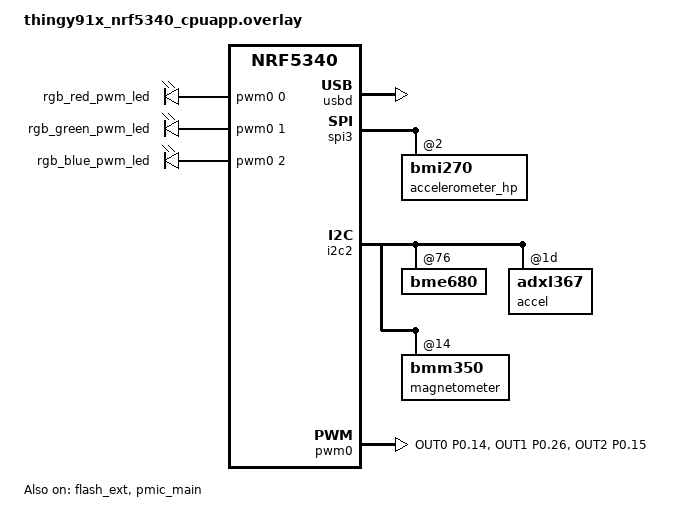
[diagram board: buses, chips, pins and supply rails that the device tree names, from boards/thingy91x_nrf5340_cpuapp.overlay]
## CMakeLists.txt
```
#
# Copyright (c) 2022 Nordic Semiconductor ASA
#
# SPDX-License-Identifier: LicenseRef-Nordic-5-Clause
#

cmake_minimum_required(VERSION 3.20.0)

find_package(Zephyr REQUIRED HINTS $ENV{ZEPHYR_BASE})
project(nrf_wifi_sta)

target_include_directories(app PUBLIC ${ZEPHYR_BASE}/subsys/net/ip)

# Add http service
zephyr_linker_sources(SECTIONS sections-rom.ld)
zephyr_linker_section_ifdef(CONFIG_NET_SAMPLE_HTTP_SERVICE NAME
				http_resource_desc_test_http_service
				KVMA RAM_REGION GROUP RODATA_REGION
				SUBALIGN Z_LINK_ITERABLE_SUBALIGN)

# Add static web resources
set(gen_dir ${ZEPHYR_BINARY_DIR}/include/generated/)

foreach(web_resource
  index.html
  main.js
  styles.css
#   color_wheel.svg
  Color_circle.svg
  Logo_Flat_RGB_Horizontal.svg
#   Duck.glb
  thingy91x.glb
    )
  generate_inc_file_for_target(
    app
    src/static_web_resources/${web_resource}
    ${gen_dir}/${web_resource}.gz.inc
    --gzip
  )
endforeach()

# Generate hex files from pem files
set(gen_dir ${CMAKE_CURRENT_BINARY_DIR}/certs)
zephyr_include_directories(${gen_dir})
generate_inc_file_for_target(
    app
    cert/StarfieldServicesCertG2.pem
    ${gen_dir}/StarfieldServicesCertG2.pem.inc
    )

target_sources(app PRIVATE
	src/main.c
    src/sensors.c
    src/http_resources.c
    src/wifi.c
)
```

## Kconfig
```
#
# Copyright (c) 2022 Nordic Semiconductor
#
# SPDX-License-Identifier: LicenseRef-Nordic-5-Clause
#

source "Kconfig.zephyr"

menu "HTTP2 server sample application"

config NET_SAMPLE_HTTP_SERVICE
	bool "Enable http service"
	default y

config NET_SAMPLE_HTTP_SERVER_SERVICE_PORT
	int "Port number for http service"
	default 80
	depends on NET_SAMPLE_HTTP_SERVICE

config NET_SAMPLE_NUM_WEBSOCKET_HANDLERS
	int "How many websocket connections to serve at the same time"
	default 2
	help
	    Each websocket connection is served by a thread which needs
	    memory. Only increase the value here if really needed.

config NET_SAMPLE_WEBSOCKET_SENSOR_INTERVAL
	int "Interval in milliseconds to send network stats over websocket"
	default 200
	help
	    This interval controls how often the sensor data shown on the web page will be updated.


endmenu # HTTP2 server sample application

menu "Logging"

    module = WIFI_STA
    module-str = wifi_sta
    source "subsys/logging/Kconfig.template.log_config"

    module = SENSORS
    module-str = sensors
    source "subsys/logging/Kconfig.template.log_config"

endmenu # Log levels

menu "Nordic Sta sample"

config CONNECTION_IDLE_TIMEOUT
	int "Time to be waited for a station to connect"
	default 30

config NRF70_QSPI_ENCRYPTION_KEY
	string "16 bytes QSPI encryption key, only for testing purposes"
	depends on BOARD_NRF7002DK_NRF5340_CPUAPP
	help
	  Specify the QSPI encryption key

config STA_CONN_TIMEOUT_SEC
	int "Overall Connection timeout i.e., time to be waited for a station to connect and get an IP address"
	# Zephyr DHCP retry is 1 minute, so set the default to 70 seconds
	default 70
	# 512 has no special meaning, just a reasonable upper limit
	range 0 512
	help
	  Specify the connection timeout, in seconds. This is the overall timeout i.e., time to be waited for
	  a station to connect and get an IP address. DHCP retries should be taken into account when setting
	  this value. If the timeout is set to 0, the connection will not timeout.

config STA_SAMPLE_START_WIFI_THREAD_STACK_SIZE
	int "Stack size for Wi-Fi start thread"
	default 4096
	help
	  Set the stack size for the Wi-Fi start thread.
endmenu

menu "HTTPS client sample"

config SAMPLE_TFM_MBEDTLS
	bool "Use TF-M and MbedTLS"
	depends on NRF_MODEM_LIB
	help
	  Use TF-M and MbedTLS in this sample instead of using
	  the offloaded TLS stack in the modem.

config HTTPS_HOSTNAME
	string "HTTPS hostname"
	default "example.com"

config DNS_ATTEMPTS
    int "Number of DNS attempts"
    default 5
    help
      Number of DNS attempts to resolve the hostname.

endmenu

menu "Nordic Scan sample"

config WIFI_SCAN_STR_MAX_MAC_ADDR
    int "Maximum length of MAC address string"
    default 10
    help
      Maximum length of MAC address string.

config WIFI_MAC_ADDRESS
	string "WiFi MAC address"
	default "F6:CE:36:00:00:01"
	help
		Wi-Fi MAC address to be used by the sample. If not set, the sample will
		use the default MAC address (locally administrative). This is only used
		when the nRF7002 OTP is not programmed with a MAC address.

config WIFI_SCAN_INTERVAL_S
	int "Scan interval (seconds)"
	default 10
	help
	  Specifies the scan interval in seconds.

config WIFI_SCAN_BANDS_LIST
	string "Frequency bands to scan"
	default "2" if WIFI_SCAN_PROFILE_2_4GHz_ACTIVE || WIFI_SCAN_PROFILE_2_4GHz_PASSIVE || WIFI_SCAN_PROFILE_2_4GHz_NON_OVERLAP_CHAN
	default "5" if WIFI_SCAN_PROFILE_5GHz_ACTIVE || WIFI_SCAN_PROFILE_5GHz_PASSIVE || WIFI_SCAN_PROFILE_5GHz_NON_DFS_CHAN
	default "2,5" if WIFI_SCAN_PROFILE_2_4GHz_NON_OVERLAP_AND_5GHz_NON_DFS_CHAN
	default ""
	help
	  Specifies the frequency bands to scan, as follows:
	  2 - 2.4 GHz,
	  5 - 5 GHz,
	  6 - 6 GHz,
	  "" - All bands allowed by the regulatory domain.
	  Multiple bands can be specified as comma separated band values.
	  Only regulatory domain permitted values are allowed.

config WIFI_SCAN_CHAN_LIST
	string "Channel list for scan"
	default "2:1,6,11" if WIFI_SCAN_PROFILE_2_4GHz_NON_OVERLAP_CHAN
	default "5:36,40,44,48,149,153,157,161,165" if WIFI_SCAN_PROFILE_5GHz_NON_DFS_CHAN
	default "2:1,6,11_5:36,40,44,48,149,153,157,161,165" if WIFI_SCAN_PROFILE_2_4GHz_NON_OVERLAP_AND_5GHz_NON_DFS_CHAN
	default ""
	help
	  Specifies the list of channels used to perform scan.

config WIFI_SCAN_DWELL_TIME_ACTIVE
	int "Active scan dwell time"
	default 50
	range 5 1000
	help
	  Active scan dwell time (in ms) per channel.

config WIFI_SCAN_DWELL_TIME_PASSIVE
	int "Passive scan dwell time"
	default 130
	range 10 1000
	help
	  Passive scan dwell time (in ms) per channel.

# Hidden options to select the scan type
config WIFI_SCAN_TYPE_ACTIVE
	bool

config WIFI_SCAN_TYPE_PASSIVE
	bool

choice
	prompt "Choose a WiFi Scan Profile"

config WIFI_SCAN_PROFILE_DEFAULT
	bool "Scan in all bands and channels"
	help
	  Enable this profile to do Wi-Fi scan in all supported bands and channels.

config WIFI_SCAN_PROFILE_ACTIVE
	bool "Active scan"
	select WIFI_SCAN_TYPE_ACTIVE
	help
	  Enable this profile to do active scan where allowed.

config WIFI_SCAN_PROFILE_PASSIVE
	bool "Passive scan"
	select WIFI_SCAN_TYPE_PASSIVE
	help
	  Enable this profile to do passive scan on all channels.

config WIFI_SCAN_PROFILE_2_4GHz_ACTIVE
	bool "Scan in the 2.4 GHz band using active scan"
	select WIFI_SCAN_TYPE_ACTIVE
	help
	  Enable this profile to scan in the 2.4 GHz band using active scanning where allowed.

config WIFI_SCAN_PROFILE_2_4GHz_PASSIVE
	bool "Scan in the 2.4 GHz band using passive scan"
	select WIFI_SCAN_TYPE_PASSIVE
	help
	  Enable this profile to scan in the 2.4 GHz band using passive scanning on all channels.

config WIFI_SCAN_PROFILE_5GHz_ACTIVE
	bool "Scan in the 5 GHz band using active scan"
	select WIFI_SCAN_TYPE_ACTIVE
	help
	  Enable this profile to scan in the 5 GHz band using active scanning where allowed.

config WIFI_SCAN_PROFILE_5GHz_PASSIVE
	bool "Scan in the 5 GHz band using passive scan"
	select WIFI_SCAN_TYPE_PASSIVE
	help
	  Enable this profile to scan in the 5 GHz band using passive scanning on all channels.

config WIFI_SCAN_PROFILE_2_4GHz_NON_OVERLAP_CHAN
	bool "Scan only non-overlapping channels"
	help
	  Enable this profile to scan only non-overlapping channels (1, 6, 11)
	  in the 2.4 GHz band.

config WIFI_SCAN_PROFILE_5GHz_NON_DFS_CHAN
	bool "Scan only non-DFS channels"
	help
	  Enable this profile to scan only non-DFS channels (36, 40, 44,
	  48, 149, 153, 157, 161, 165) in the 5 GHz band.

config WIFI_SCAN_PROFILE_2_4GHz_NON_OVERLAP_AND_5GHz_NON_DFS_CHAN
	bool "Scan only non-overlapping and non-DFS channels"
	help
	  Enable this profile to scan only non-overlapping channels
	  (1, 6, 11) in the 2.4 GHz band and non-DFS channels (36, 40, 44,
	  48, 149, 153, 157, 161, 165) in the 5 GHz band.

endchoice

endmenu
```

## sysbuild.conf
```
#
# Copyright (c) 2024 Nordic Semiconductor ASA
#
# SPDX-License-Identifier: LicenseRef-Nordic-5-Clause
#

SB_CONFIG_WIFI_NRF70=y
SB_CONFIG_THINGY91X_STATIC_PARTITIONS_NRF53_EXTERNAL_FLASH=y
```

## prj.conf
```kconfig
#
# Copyright (c) 2022 Nordic Semiconductor ASA
#
# SPDX-License-Identifier: LicenseRef-Nordic-5-Clause
#
CONFIG_WIFI=y
CONFIG_WIFI_NRF70=y

CONFIG_WIFI_READY_LIB=y

# WPA supplicant
CONFIG_WIFI_NM_WPA_SUPPLICANT=y
CONFIG_WIFI_READY_LIB=y
CONFIG_NRF_WIFI_RPU_RECOVERY=y

CONFIG_HTTPS_HOSTNAME="api.nrfcloud.com"

CONFIG_MBEDTLS_SSL_SERVER_NAME_INDICATION=y

# CONFIG_NET_DEBUG_MGMT_EVENT_STACK=y

CONFIG_WIFI_CREDENTIALS_STATIC=n

CONFIG_WIFI_CREDENTIALS_BACKEND_SETTINGS=y
CONFIG_FLASH=y
CONFIG_FLASH_PAGE_LAYOUT=y
CONFIG_FLASH_MAP=y
CONFIG_NVS=y
CONFIG_SETTINGS=y
CONFIG_SETTINGS_NVS=y

CONFIG_SHELL=y
CONFIG_WIFI_CREDENTIALS_SHELL=y
CONFIG_NET_L2_WIFI_SHELL=y

CONFIG_WIFI_MGMT_EXT=y
CONFIG_WIFI_CREDENTIALS=y
# CONFIG_WIFI_CREDENTIALS_STATIC=y
# CONFIG_WIFI_CREDENTIALS_STATIC_SSID="iPhone"
# CONFIG_WIFI_CREDENTIALS_STATIC_PASSWORD="12345678"

# Networking
CONFIG_NETWORKING=y
CONFIG_NET_SOCKETS=y
# CONFIG_NET_LOG=y
CONFIG_NET_IPV4=y
CONFIG_NET_UDP=y
CONFIG_NET_TCP=y
CONFIG_NET_DHCPV4=y
CONFIG_NET_IPV6=n

CONFIG_NET_PKT_RX_COUNT=32
CONFIG_NET_PKT_TX_COUNT=48

# Below section is the primary contributor to SRAM and is currently
# tuned for performance, but this will be revisited in the future.
CONFIG_NET_BUF_RX_COUNT=32
# CONFIG_NET_BUF_RX_COUNT=8
CONFIG_NET_BUF_TX_COUNT=64
# CONFIG_NET_BUF_TX_COUNT=16
CONFIG_NRF70_RX_NUM_BUFS=16
# CONFIG_HEAP_MEM_POOL_SIZE=170000
# CONFIG_HEAP_MEM_POOL_SIZE=120000
CONFIG_HEAP_MEM_POOL_SIZE=90000
CONFIG_USB_CDC_ACM_RINGBUF_SIZE=4096
CONFIG_NET_BUF_DATA_SIZE=1100
CONFIG_HEAP_MEM_POOL_IGNORE_MIN=y
CONFIG_NET_TC_TX_COUNT=1

CONFIG_NET_IF_UNICAST_IPV4_ADDR_COUNT=1
CONFIG_NET_MAX_CONTEXTS=16
CONFIG_NET_MAX_CONN=16
CONFIG_NET_CONTEXT_SYNC_RECV=y

CONFIG_INIT_STACKS=y

CONFIG_NET_L2_ETHERNET=y

CONFIG_NET_CONFIG_SETTINGS=y
CONFIG_NET_CONFIG_INIT_TIMEOUT=0

CONFIG_NET_SOCKETS_POLL_MAX=10

# Memories
CONFIG_MAIN_STACK_SIZE=2048
CONFIG_SHELL_STACK_SIZE=8192
# CONFIG_NET_TX_STACK_SIZE=8192
# CONFIG_NET_TX_STACK_SIZE=4096
# CONFIG_NET_RX_STACK_SIZE=4096
CONFIG_NET_RX_STACK_SIZE=2048
CONFIG_NET_TX_STACK_SIZE=2048
CONFIG_STA_SAMPLE_START_WIFI_THREAD_STACK_SIZE=5200
# CONFIG_SYSTEM_WORKQUEUE_STACK_SIZE=12000
CONFIG_SYSTEM_WORKQUEUE_STACK_SIZE=2048
# CONFIG_SYSTEM_WORKQUEUE_STACK_SIZE=4096
# CONFIG_NET_MGMT_EVENT_STACK_SIZE=2048
# CONFIG_NET_MGMT_EVENT_STACK_SIZE=4096
CONFIG_NET_MGMT_EVENT_STACK_SIZE=8192
CONFIG_NET_BUF_FIXED_DATA_SIZE=y
CONFIG_HTTP_SERVER_STACK_SIZE=8192

# Thread analysis
# CONFIG_THREAD_ANALYZER=y
# CONFIG_THREAD_ANALYZER_USE_LOG=y
# CONFIG_THREAD_ANALYZER_AUTO=y
# CONFIG_THREAD_ANALYZER_AUTO_INTERVAL=5
# CONFIG_THREAD_NAME=y

# Debugging
CONFIG_STACK_SENTINEL=y
CONFIG_DEBUG_COREDUMP=y
CONFIG_DEBUG_COREDUMP_BACKEND_LOGGING=y
CONFIG_DEBUG_COREDUMP_MEMORY_DUMP_MIN=y
CONFIG_SHELL_CMDS_RESIZE=n

CONFIG_SENSORS_LOG_LEVEL_DBG=n

CONFIG_NET_SAMPLE_WEBSOCKET_SENSOR_INTERVAL=50

# Kernel options
CONFIG_ENTROPY_GENERATOR=y

# Logging
CONFIG_LOG=y
CONFIG_LOG_BUFFER_SIZE=2048
CONFIG_POSIX_CLOCK=y
CONFIG_LOG_MODE_IMMEDIATE=y

CONFIG_NET_CONFIG_MY_IPV4_ADDR="192.168.1.99"
CONFIG_NET_CONFIG_MY_IPV4_NETMASK="255.255.255.0"
CONFIG_NET_CONFIG_MY_IPV4_GW="192.168.1.1"

# printing of scan results puts pressure on queues in new locking
# design in net_mgmt. So, use a higher timeout for a crowded
# environment.
CONFIG_NET_MGMT_EVENT_QUEUE_TIMEOUT=5000

# Eventfd
CONFIG_EVENTFD=y
CONFIG_ZVFS_OPEN_MAX=32
CONFIG_ZVFS_EVENTFD_MAX=2
CONFIG_POSIX_API=y
CONFIG_FDTABLE=y

# JSON
CONFIG_JSON_LIBRARY=y

# HTTP
# CONFIG_NET_HTTP_LOG_LEVEL_DBG=y
# CONFIG_NET_HTTP_SERVER_LOG_LEVEL_DBG=y
CONFIG_HTTP_PARSER_URL=y
CONFIG_HTTP_PARSER=y
CONFIG_HTTP_SERVER=y
CONFIG_HTTP_SERVER_WEBSOCKET=y

CONFIG_HTTP_SERVER_MAX_CLIENTS=10

# # DNS
CONFIG_MDNS_RESPONDER=y
CONFIG_DNS_SD=y
CONFIG_MDNS_RESPONDER_DNS_SD=y
CONFIG_NET_HOSTNAME_ENABLE=y
CONFIG_NET_HOSTNAME_UNIQUE=n
CONFIG_NET_HOSTNAME="thingy91x"
CONFIG_POSIX_UNAME=n

CONFIG_DNS_RESOLVER=y
CONFIG_DNS_RESOLVER_AUTO_INIT=y
CONFIG_DNS_RESOLVER_LOG_LEVEL_DBG=y
CONFIG_NET_SOCKETS_DNS_TIMEOUT=5000
CONFIG_DNS_SERVER_IP_ADDRESSES=y
CONFIG_DNS_SERVER1="1.1.1.1"
CONFIG_DNS_SERVER2="8.8.8.8"

CONFIG_DNS_RESOLVER_CACHE=y

# Sensors
CONFIG_GPIO=y
CONFIG_PWM=y
CONFIG_DK_LIBRARY=y
CONFIG_SENSOR=y
CONFIG_SPI=y
CONFIG_I2C=y

CONFIG_BMI270=y
CONFIG_BME680=y
CONFIG_ADXL367=y
# CONFIG_BMM350=y

CONFIG_FPU=y

CONFIG_REBOOT=y


CONFIG_SYS_HEAP_LISTENER=n
CONFIG_SYS_HEAP_RUNTIME_STATS=y


# TLS networking
CONFIG_NET_SOCKETS_ENABLE_DTLS=n
CONFIG_NET_SOCKETS_TLS_MAX_CONTEXTS=2
CONFIG_NET_SOCKETS_SOCKOPT_TLS=y

# TLS credentials
# CONFIG_TLS_CREDENTIALS_BACKEND_PROTECTED_STORAGE=y
CONFIG_TLS_CREDENTIALS_BACKEND_VOLATILE=y

# mbedTLS
CONFIG_NRF_SECURITY=y
CONFIG_MBEDTLS=y
CONFIG_MBEDTLS_ENABLE_HEAP=y
CONFIG_MBEDTLS_HEAP_SIZE=81920
CONFIG_MBEDTLS_RSA_C=y
CONFIG_MBEDTLS_TLS_LIBRARY=y

# Optimize T-FM
CONFIG_TFM_PROFILE_TYPE_SMALL=y
CONFIG_PM_PARTITION_SIZE_TFM_SRAM=0xc000
CONFIG_PM_PARTITION_SIZE_TFM=0x20000

# CONFIG_NET_LOG=y
# CONFIG_NET_SOCKETS_LOG_LEVEL_DBG=y
# CONFIG_MBEDTLS_DEBUG=y
# CONFIG_MBEDTLS_DEBUG_LEVEL=1
# CONFIG_MBEDTLS_DEBUG_C=y
# CONFIG_MBEDTLS_SSL_DEBUG_ALL=y
```

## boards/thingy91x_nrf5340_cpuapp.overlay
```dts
/* Copyright (c) 2024 Nordic Semiconductor ASA
 *
 * SPDX-License-Identifier: LicenseRef-Nordic-5-Clause
 */

 #include <thingy91x_nrf53_wifi.dtsi>

 /{
    aliases{
     accel0 = &accelerometer_hp;
     accel1 = &accelerometer_lp;
     mag0 = &magnetometer; 
     env0 = &bme680;
     pwm-led0 = &rgb_red_pwm_led;
     pwm-led1 = &rgb_green_pwm_led;
     pwm-led2 = &rgb_blue_pwm_led;
     red-pwm-led = &rgb_red_pwm_led;
     green-pwm-led = &rgb_green_pwm_led;
     blue-pwm-led = &rgb_blue_pwm_led;
    };
};

 &usbd {
     compatible = "nordic,nrf-usbd";
     status = "okay";
 };
 
 / {
     chosen {
         zephyr,console = &cdc_acm_uart0;
         zephyr,shell-uart = &cdc_acm_uart0;
         zephyr,uart-mcumgr = &cdc_acm_uart0;
         zephyr,bt-mon-uart = &cdc_acm_uart0;
         zephyr,bt-c2h-uart = &cdc_acm_uart0;
         nordic,pm-ext-flash = &flash_ext;
     };

     pwmleds {
        compatible = "pwm-leds";
        rgb_red_pwm_led: pwm_led0 {
            pwms = <&pwm0 0 PWM_MSEC(20) PWM_POLARITY_NORMAL>;
        };
        rgb_green_pwm_led: pwm_led1 {
            pwms = <&pwm0 1 PWM_MSEC(20) PWM_POLARITY_NORMAL>;
        };
        rgb_blue_pwm_led: pwm_led2 {
            pwms = <&pwm0 2 PWM_MSEC(20) PWM_POLARITY_NORMAL>;
        };
    };
 };
 
 &rtt0 {
     status = "disabled";
 };
 
 
 /* Enable external flash */
 &flash_ext{
     status = "okay";
 };
 
 &spi3{
     status = "okay";
     accelerometer_hp: bmi270@2 {
         status = "okay";
     };
 };

 &i2c2 {
	status = "okay";
	bme680: bme680@76 {
		status = "okay";
	};
	accel: accelerometer_lp: adxl367@1d {
		status = "okay";
	};
	magnetometer: bmm350@14 {
		status = "okay";
	};
};

&pmic_main {
	status = "okay";
	npm1300_gpios {
		status = "okay";
	};
	regulators {
		status = "okay";
	};
	charger {
		status = "okay";
	};
};

&pinctrl {
    pwm0_default: pwm0_default {
        group1 {
            psels = <NRF_PSEL(PWM_OUT0, 0, 14)>,
                    <NRF_PSEL(PWM_OUT1, 0, 26)>,
                    <NRF_PSEL(PWM_OUT2, 0, 15)>;
        };
    };

    pwm0_sleep: pwm0_sleep {
        group1 {
            psels = <NRF_PSEL(PWM_OUT0, 0, 14)>,
                    <NRF_PSEL(PWM_OUT1, 0, 26)>,
                    <NRF_PSEL(PWM_OUT2, 0, 15)>;
            low-power-enable;
        };
    };
};

&pwm0 {
    status = "okay";
    pinctrl-0 = <&pwm0_default>;
    pinctrl-1 = <&pwm0_sleep>;
    pinctrl-names = "default", "sleep";
};
        
```

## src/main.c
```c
/*
 * Copyright (c) 2022 Nordic Semiconductor ASA
 *
 * SPDX-License-Identifier: LicenseRef-Nordic-5-Clause
 */

/** @file
 * @brief WiFi station sample
 */

#include <zephyr/logging/log.h>
LOG_MODULE_REGISTER(http_server, CONFIG_LOG_DEFAULT_LEVEL);

#include <zephyr/kernel.h>
#include <stdio.h>
#include <stdlib.h>
#include <zephyr/shell/shell.h>
#include <zephyr/init.h>

#include <dk_buttons_and_leds.h>
#include <zephyr/device.h>
#include <zephyr/drivers/pwm.h>

#include <zephyr/data/json.h>

#include <zephyr/net/socket.h>
#include <zephyr/net/websocket.h>

#include <zephyr/sys/reboot.h>

#include "sensors.h"
#include "http_resources.h"
#include "wifi.h"
#include "https_request.h"

#ifdef CONFIG_SYS_HEAP_LISTENER
#include <zephyr/sys/heap_listener.h>
extern struct sys_heap _system_heap;
struct sys_memory_stats system_heap_stats;
uint32_t system_heap_free = 0;
uint32_t system_heap_used = 0;
uint32_t system_heap_max_used = 0;

void on_system_heap_alloc(uintptr_t heap_id, void *mem, size_t bytes)
{
	if (heap_id == HEAP_ID_FROM_POINTER(&_system_heap)) {
		sys_heap_runtime_stats_get((struct sys_heap *)&_system_heap.heap,
					   &system_heap_stats);
		system_heap_used = (uint32_t)system_heap_stats.allocated_bytes;
		system_heap_max_used = (uint32_t)system_heap_stats.max_allocated_bytes;
		system_heap_free = (uint32_t)system_heap_stats.free_bytes;
		LOG_INF("system_heap ALLOC %zu. Heap state: allocated %zu, free %zu, max allocated "
			"%zu, heap size %u.\n",
			bytes, system_heap_used, system_heap_free, system_heap_max_used,
			K_HEAP_MEM_POOL_SIZE);
	}
}

void on_system_heap_free(uintptr_t heap_id, void *mem, size_t bytes)
{
	if (heap_id == HEAP_ID_FROM_POINTER(&_system_heap)) {
		sys_heap_runtime_stats_get((struct sys_heap *)&_system_heap.heap,
					   &system_heap_stats);
		system_heap_used = (uint32_t)system_heap_stats.allocated_bytes;
		system_heap_max_used = (uint32_t)system_heap_stats.max_allocated_bytes;
		system_heap_free = (uint32_t)system_heap_stats.free_bytes;
		LOG_INF("system_heap ALLOC %zu. Heap state: allocated %zu, free %zu, max allocated "
			"%zu, heap size %u.\n",
			bytes, system_heap_used, system_heap_free, system_heap_max_used,
			K_HEAP_MEM_POOL_SIZE);
	}
}

HEAP_LISTENER_ALLOC_DEFINE(system_heap_listener_alloc, HEAP_ID_FROM_POINTER(&_system_heap),
			   on_system_heap_alloc);
HEAP_LISTENER_FREE_DEFINE(system_heap_listener_free, HEAP_ID_FROM_POINTER(&_system_heap),
			  on_system_heap_free);
#endif // CONFIG_SYS_HEAP_LISTENER

static const struct pwm_dt_spec red_pwm_led = PWM_DT_SPEC_GET(DT_ALIAS(pwm_led0));
static const struct pwm_dt_spec green_pwm_led = PWM_DT_SPEC_GET(DT_ALIAS(pwm_led1));
static const struct pwm_dt_spec blue_pwm_led = PWM_DT_SPEC_GET(DT_ALIAS(pwm_led2));

uint8_t apply_gamma(uint8_t value, float gamma)
{
	/* (value/255)^gamma * 255 */
	return (uint8_t)(pow(value / 255.0, gamma) * 255);
}

int pwm_set_color(int red, int green, int blue)
{
	int ret;

	/* Parameters to adjust intensity of each color */
	float red_gamma = 2.2;
	float green_gamma = 2.2;
	float blue_gamma = 2.2;

	float red_intensity_scale = 1.0;
	float green_intensity_scale = 1.0;
	float blue_intensity_scale = 0.8;

	// LOG_DBG("PWM_Color: Red: %d, Green: %d, Blue: %d \n", red, green, blue);

	// Apply gamma correction
	int corrected_red = apply_gamma(red * red_intensity_scale, red_gamma);
	int corrected_green = apply_gamma(green * green_intensity_scale, green_gamma);
	int corrected_blue = apply_gamma(blue * blue_intensity_scale, blue_gamma);

	// uint32_t period = red_pwm_led.period;
	int pwm_red = (corrected_red * red_pwm_led.period) / 255;
	int pwm_green = (corrected_green * green_pwm_led.period) / 255;
	int pwm_blue = (corrected_blue * blue_pwm_led.period) / 255;

	ret = pwm_set_pulse_dt(&red_pwm_led, pwm_red);
	if (ret != 0) {
		LOG_ERR("Error %d: red write failed\n", ret);
		return ret;
	}

	ret = pwm_set_pulse_dt(&green_pwm_led, pwm_green);
	if (ret != 0) {
		LOG_ERR("Error %d: green write failed\n", ret);
		return ret;
	}

	ret = pwm_set_pulse_dt(&blue_pwm_led, pwm_blue);
	if (ret != 0) {
		LOG_ERR("Error %d: blue write failed\n", ret);
		return ret;
	}

	return 0;
}

static void sensor_handler(struct k_work *work)
{
	int ret;
	static char tx_buf[1024];
	struct k_work_delayable *dwork = k_work_delayable_from_work(work);
	struct ws_sensors_ctx *ctx = CONTAINER_OF(dwork, struct ws_sensors_ctx, work);

	// ret = sensors_collect(tx_buf, sizeof(tx_buf));
	ret = sensors_get_json(tx_buf, sizeof(tx_buf));
	if (ret < 0) {
		LOG_ERR("Unable to collect sensor data, err %d", ret);
		goto unregister;
	}

	ret = websocket_send_msg(ctx->sock, tx_buf, ret, WEBSOCKET_OPCODE_DATA_TEXT, false, true,
				 SYS_FOREVER_MS);
	if (ret < 0) {
		LOG_INF("Couldn't send websocket msg (%d), closing connection", ret);
		goto unregister;
	}

	ret = k_work_reschedule(&ctx->work, K_MSEC(CONFIG_NET_SAMPLE_WEBSOCKET_SENSOR_INTERVAL));
	if (ret < 0) {
		LOG_ERR("Failed to schedule sensor work, err %d", ret);
		goto unregister;
	}

	return;

unregister:
	(void)websocket_unregister(ctx->sock);
	ctx->sock = -1;
}

int ws_sensors_init(void)
{
	struct ws_sensors_ctx *ctx = NULL;
	http_resources_get_ws_ctx(&ctx);

	for (int i = 0; i < CONFIG_NET_SAMPLE_NUM_WEBSOCKET_HANDLERS; i++) {
		ctx[i].sock = -1;
		k_work_init_delayable(&ctx[i].work, sensor_handler);
	}

	return 0;
}
SYS_INIT(ws_sensors_init, APPLICATION, 0);

static int get_free_sensor_slot(void)
{
	struct ws_sensors_ctx *ctx = NULL;
	http_resources_get_ws_ctx(&ctx);

	for (int i = 0; i < CONFIG_NET_SAMPLE_NUM_WEBSOCKET_HANDLERS; i++) {
		if (ctx[i].sock < 0) {
			return i;
		}
	}

	return -1;
}

int ws_sensors_setup(int ws_socket, void *user_data)
{
	ARG_UNUSED(user_data);

	struct ws_sensors_ctx *ctx = NULL;
	http_resources_get_ws_ctx(&ctx);

	int slot = get_free_sensor_slot();
	if (slot < 0) {
		LOG_ERR("No free slot for sensor websocket");
		return -ENOMEM;
	}
	LOG_INF("Setting up sensor websocket on slot %d", slot);

	ctx[slot].sock = ws_socket;

	LOG_INF("Using socket %d for sensor websocket", ws_socket);

	int ret = k_work_reschedule(&ctx[slot].work, K_NO_WAIT);
	if (ret < 0) {
		LOG_ERR("Failed to reschedule sensor work");
		return ret;
	}

	LOG_INF("Sensor websocket setup on slot %d", slot);

	return 0;
}

static void parse_led_post(uint8_t *buf, size_t len)
{
	int ret;
	struct led_command cmd;
	const int expected_return_code = BIT_MASK(ARRAY_SIZE(led_command_descr));

	LOG_DBG("Got POST request with payload: %s", buf);

	ret = json_obj_parse(buf, len, led_command_descr, ARRAY_SIZE(led_command_descr), &cmd);
	if (ret != expected_return_code) {
		LOG_WRN("Failed to fully parse JSON payload, ret=%d", ret);
		return;
	}

	ret = pwm_set_color(cmd.r, cmd.g, cmd.b);
	if (ret) {
		LOG_ERR("Failed to set LED color");
	}
}

static int led_handler(struct http_client_ctx *client, enum http_data_status status,
		       uint8_t *buffer, size_t len, void *user_data)
{
	ARG_UNUSED(client);
	ARG_UNUSED(user_data);

	static uint8_t post_payload_buf[32];
	static size_t cursor;

	LOG_DBG("LED handler status %d, size %zu", status, len);

	if (status == HTTP_SERVER_DATA_ABORTED) {
		cursor = 0;
		return 0;
	}

	if (len + cursor > sizeof(post_payload_buf)) {
		cursor = 0;
		return -ENOMEM;
	}

	/* Copy payload to our buffer. Note that even for a small payload, it may arrive split into
	 * chunks (e.g. if the header size was such that the whole HTTP request exceeds the size of
	 * the client buffer).
	 */
	memcpy(post_payload_buf + cursor, buffer, len);
	cursor += len;

	if (status == HTTP_SERVER_DATA_FINAL) {
		parse_led_post(post_payload_buf, cursor);
		cursor = 0;
	}

	return 0;
}

static void parse_jwt_post(uint8_t *buf, size_t len)
{
	ARG_UNUSED((len));

	int ret;

	ret = pwm_set_color(255, 255, 0);
	if (ret) {
		LOG_ERR("Failed to set LED color");
	}

	// Manually phrasing the JSON payload
	char temp_buff[512] = {0};
	// Remove leading {"jwt":"
	ret = snprintf(temp_buff, sizeof(temp_buff), "%s", buf + 8);
	if (ret < 0) {
		LOG_ERR("Failed to format JWT\n");
		return;
	}
	// Remove trailing "}
	temp_buff[ret - 2] = '\0';

	LOG_WRN("Temp buffer: %s", temp_buff);

	char location_str[256];
	memset(location_str, 0, sizeof(location_str));

	char api_str[CONFIG_WIFI_SCAN_STR_MAX_MAC_ADDR * 65];

	get_nrfcloud_api_str(api_str, sizeof(api_str));

	send_http_request(location_str, sizeof(location_str), api_str, sizeof(api_str), temp_buff);

	LOG_WRN("Location string: %s", location_str);

	http_resources_set_location(location_str);

	ret = pwm_set_color(0, 255, 0);
	if (ret) {
		LOG_ERR("Failed to set LED color");
	}
}

static int jwt_handler(struct http_client_ctx *client, enum http_data_status status,
		       uint8_t *buffer, size_t len, void *user_data)
{

	ARG_UNUSED(client);
	ARG_UNUSED(user_data);

	static uint8_t post_payload_buf[512];
	static size_t cursor;

	LOG_WRN("JWT handler status %d, size %zu", status, len);

	if (status == HTTP_SERVER_DATA_ABORTED) {
		cursor = 0;
		return 0;
	}

	if (len + cursor > sizeof(post_payload_buf)) {
		cursor = 0;
		LOG_ERR("Buffer overflow");
		return -ENOMEM;
	}

	/* Copy payload to our buffer. Note that even for a small payload, it may arrive split into
	 * chunks (e.g. if the header size was such that the whole HTTP request exceeds the size of
	 * the client buffer).
	 */
	memcpy(post_payload_buf + cursor, buffer, len);
	cursor += len;
	LOG_INF("JWT handler cursor %zu", cursor);

	if (status == HTTP_SERVER_DATA_FINAL) {
		parse_jwt_post(post_payload_buf, cursor);
		cursor = 0;
	}

	return 0;
}

/**
 * @brief Function called when buttons are pressed.
 */
static void button_handler(uint32_t button_state, uint32_t has_changed)
{
	if (has_changed & DK_BTN1_MSK) {
		if (button_state & DK_BTN1_MSK) {
			LOG_INF("Button 1 pressed");
			sys_reboot(SYS_REBOOT_COLD); // Reset the device
		}
	}
}

/**
 * @brief Function called when Wi-Fi is connected.
 */
static void wifi_connected_handler(void)
{
	LOG_INF("Wi-Fi connected");

	// Print Thread name
	LOG_WRN("Thread name: %s\n", k_thread_name_get(k_current_get()));

	LOG_INF("HTTP server staring");
	http_server_start();

	int ret = pwm_set_color(0, 255, 0);
	if (ret) {
		LOG_ERR("Failed to set LED color");
	}
}

static int location_handler(struct http_client_ctx *client, enum http_data_status status,
			    uint8_t *buffer, size_t len, void *user_data)
{
	ARG_UNUSED(client);
	ARG_UNUSED(len);
	ARG_UNUSED(user_data);

	static bool response_sent;
	extern char location_buf[256];

	switch (status) {
	case HTTP_SERVER_DATA_ABORTED: {
		response_sent = false;
		return 0;
	}

	case HTTP_SERVER_DATA_MORE: {
		/* A payload is not expected with the GET request. Ignore any data and wait until
		 * final callback before sending response
		 */
		return 0;
	}

	case HTTP_SERVER_DATA_FINAL: {
		if (response_sent) {
			/* Response already sent, return 0 to indicate to server that the callback
			 * does not need to be called again.
			 */
			response_sent = false;
			return 0;
		}

		response_sent = true;
		return snprintf(buffer, sizeof(location_buf), "%s", location_buf);
	}
	default: {
		LOG_WRN("Unexpected status %d", status);
		return -1;
	}
	}
}

int main(void)
{
	int ret = 0;

	// ret = dk_leds_init();
	// if (ret != 0) {
	// 	LOG_ERR("Failed to initialize LEDs");
	// 	return -1;
	// }

	if (!pwm_is_ready_dt(&red_pwm_led) || !pwm_is_ready_dt(&green_pwm_led) ||
	    !pwm_is_ready_dt(&blue_pwm_led)) {
		LOG_ERR("Error: one or more PWM devices not ready\n");
		return 0;
	}

	ret = pwm_set_color(255, 0, 0);
	if (ret) {
		LOG_ERR("Failed to set LED color");
	}

	ret = dk_buttons_init(button_handler);
	if (ret != 0) {
		LOG_ERR("Failed to initialize buttons");
		return -1;
	}

	ret = sensors_init();
	if (ret) {
		LOG_ERR("Failed to initialize sensors");
		return ret;
	}

	/* Provision certificates before connecting to the network */
	ret = cert_provision();
	if (ret) {
		return 0;
	}

	http_resources_set_led_handler(led_handler);
	http_resources_set_jwt_handler(jwt_handler);
	http_resources_set_ws_handler(ws_sensors_setup);
	wifi_sta_set_wifi_connected_cb(wifi_connected_handler);
	http_resources_set_location_handler(location_handler);

#ifdef CONFIG_SYS_HEAP_LISTENER
	heap_listener_register(&system_heap_listener_alloc);
	heap_listener_register(&system_heap_listener_free);
#endif // CONFIG_SYS_HEAP_LISTENER

	net_mgmt_callback_init();

	ret = wifi_scan();
	if (ret) {
		LOG_ERR("Failed to scan for Wi-Fi networks, err %d", ret);
		return ret;
	}

#ifdef CONFIG_WIFI_READY_LIB
	ret = register_wifi_ready();
	if (ret) {
		return ret;
	}
	k_thread_start(wifi_sta_get_start_wifi_thread_id());
#else
	start_app();
#endif /* CONFIG_WIFI_READY_LIB */

	return ret;
}
```

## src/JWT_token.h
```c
/* Remember not to push your JWT to public repo.
    * You can use the following command to ignore changes to this file locally:
    * git update-index --assume-unchanged sta/src/JWT_token.h
    * To start tracking changes again, use:
    * git update-index --no-assume-unchanged sta/src/JWT_token.h
*/
/* Here you define your JWT Authentication token */

// #define AUTH_TOKEN ""

#ifndef AUTH_TOKEN
#error "AUTH_TOKEN is not defined. Please define it appropriately."
#endif
```

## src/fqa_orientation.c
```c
/**
 *@file fqa_orientation.c
 *@author Trondfc
 *@brief Implementation of the Fast Quaternion Algorithm for orientation estimation.
 *           Based on math in https://ahrs.readthedocs.io/en/latest/filters/fqa.html
 *           and code in  https://github.com/Mayitzin/ahrs/blob/master/ahrs/filters/fqa.py
 *@version 0.3
 *        - 2024-11-17: Initial implementation.
 *        - 2025-01-07: Fixed mistake in the calculation of the roll quaternion.
 *        - 2025-01-13: Small cleanup of the code. Added file header.
 *@date 2024-11-17
 */

#include <zephyr/logging/log.h>
LOG_MODULE_REGISTER(fqa, CONFIG_FQA_LOG_LEVEL);

#include "fqa_orientation.h"
#include "zsl_utils.h"

#define SIGN(x) ((x) == 0 ? 0 : (x) > 0 ? 1 : -1)

/**
 *@brief Calculate the norm of a vector.
 *
 *@param v vector to calculate the norm of.
 *@return double norm of the vector (sqrt of the sum of the squares of the elements).
 */
double vector_norm(struct zsl_vec *v)
{
	double norm = 0.0;
	for (size_t i = 0; i < v->sz; i++) {
		norm += v->data[i] * v->data[i];
	}
	return sqrt(norm);
}

/**
 *@brief Calculate the orientation of the device using the Fast Quaternion Algorithm.
 *
 *@param accel pointer to 3D vector with the accelerometer data.
 *@param magn pointer to 3D vector with the magnetometer data.
 *@param magn_ref pointer to 3D vector with the reference magnetometer data (either the initial
 *magnetometer data or a non-rotating magnetometer data).
 *@param q pointer to the quaternion to store the orientation.
 *@return int 0 if successful, error code otherwise.
 */
int fqa_orientation(struct zsl_vec *accel, struct zsl_vec *magn, struct zsl_vec *magn_ref,
		    struct zsl_quat *q)
{
	int ret = 0;

	// Normalize the accelerometer and magnetometer data.
	struct zsl_vec *a;
	struct zsl_vec *m;
	struct zsl_vec *m_ref;

	zsl_vec_alloc(&a, 3);
	zsl_vec_alloc(&m, 3);
	zsl_vec_alloc(&m_ref, 3);

	zsl_vec_copy(a, accel);
	zsl_vec_copy(m, magn);
	zsl_vec_copy(m_ref, magn_ref);

	// Normalize the accelerometer vector
	ret = zsl_vec_to_unit(a);

	// Elevation quaternion
	double s_theta = MIN((MAX(a->data[0], -1.0)), 1.0);
	double c_theta = sqrt(1 - s_theta * s_theta);
	double s_theta_2 = SIGN(s_theta) * sqrt((1.0 - c_theta) / 2.0);
	double c_theta_2 = sqrt((1.0 + c_theta) / 2.0);
	struct zsl_quat *q_elev;
	zsl_quat_alloc(&q_elev, ZSL_QUAT_TYPE_EMPTY);
	zsl_quat_set(q_elev, c_theta_2, 0.0, s_theta_2, 0.0);
	zsl_quat_to_unit_d(q_elev);

	// Roll quaternion
	bool is_singular = (c_theta == 0.0);
	double s_phi = 0.0;
	double c_phi = 0.0;
	if (!is_singular) {
		s_phi = (-1 * a->data[1] / c_theta);
		c_phi = (-1 * a->data[2] / c_theta);
	}
	c_phi = MIN((MAX(c_phi, -1.0)), 1.0);
	int sign_s_phi = SIGN(s_phi);
	if (c_phi == -1.0 && s_phi == 0.0) {
		sign_s_phi = 1.0;
	}
	double s_phi_2 = sign_s_phi * sqrt((1.0 - c_phi) / 2.0);
	double c_phi_2 = sqrt((1.0 + c_phi) / 2.0);
	struct zsl_quat *q_roll;
	zsl_quat_alloc(&q_roll, ZSL_QUAT_TYPE_EMPTY);
	zsl_quat_set(q_roll, c_phi_2, s_phi_2, 0.0, 0.0);
	zsl_quat_to_unit_d(q_roll);

	struct zsl_quat *q_elev_roll;
	zsl_quat_alloc(&q_elev_roll, ZSL_QUAT_TYPE_EMPTY);
	zsl_quat_mult(q_elev, q_roll, q_elev_roll);

	// Azimuth quaternion
	double m_norm = vector_norm(m);
	if (m_norm <= 0.0) {
		LOG_WRN("Magnetometer vector norm is zero");
		ret = zsl_quat_copy(q, q_elev_roll);
	}

	ret = zsl_vec_to_unit(m);
	if (ret != 0) {
		LOG_ERR("Failed to normalize magnetometer vector");
		return ret;
	}
	struct zsl_quat *q_bm;
	zsl_quat_alloc(&q_bm, ZSL_QUAT_TYPE_EMPTY);
	zsl_quat_set(q_bm, 0.0, m->data[0], m->data[1], m->data[2]);

	struct zsl_quat *q_em;
	zsl_quat_alloc(&q_em, ZSL_QUAT_TYPE_EMPTY);
	struct zsl_quat *q_temp1;
	zsl_quat_alloc(&q_temp1, ZSL_QUAT_TYPE_EMPTY);
	struct zsl_quat *q_temp2;
	zsl_quat_alloc(&q_temp2, ZSL_QUAT_TYPE_EMPTY);
	struct zsl_quat *q_temp3;
	zsl_quat_alloc(&q_temp3, ZSL_QUAT_TYPE_EMPTY);

	zsl_quat_conj(q_roll, q_temp1);           // q_conj(q_r)
	zsl_quat_conj(q_elev, q_temp2);           // q_conj(q_e)
	zsl_quat_mult(q_temp1, q_temp2, q_temp3); // q_prod(q_conj(q_r), q_conj(q_e))
	zsl_quat_mult(q_bm, q_temp3, q_temp1);    // q_prod(bm, q_prod(q_conj(q_r), q_conj(q_e)))
	zsl_quat_mult(q_roll, q_temp1,
		      q_temp2); // q_prod(q_r, q_prod(bm, q_prod(q_conj(q_r), q_conj(q_e))))
	zsl_quat_mult(
		q_elev, q_temp2,
		q_em); // q_prod(q_e, q_prod(q_r, q_prod(bm, q_prod(q_conj(q_r), q_conj(q_e)))))

	double nx = m_ref->data[0];
	double ny = m_ref->data[1];
	struct zsl_vec *N_vec;
	zsl_vec_alloc(&N_vec, 2);
	N_vec->data[0] = nx;
	N_vec->data[1] = ny;
	zsl_vec_to_unit(N_vec);
	double Mx = q_em->i / sqrt(q_em->i * q_em->i + q_em->j * q_em->j);
	double My = q_em->j / sqrt(q_em->i * q_em->i + q_em->j * q_em->j);
	double c_psi = N_vec->data[0] * Mx + N_vec->data[1] * My;
	double s_psi = N_vec->data[0] * My * -1 + N_vec->data[1] * Mx;
	c_psi = MIN((MAX(c_psi, -1.0)), 1.0);
	double s_psi_2 = SIGN(s_psi) * sqrt((1.0 - c_psi) / 2.0);
	double c_psi_2 = sqrt((1.0 + c_psi) / 2.0);
	struct zsl_quat *q_azim;
	zsl_quat_alloc(&q_azim, ZSL_QUAT_TYPE_EMPTY);
	zsl_quat_set(q_azim, c_psi_2, 0.0, 0.0, s_psi_2);
	zsl_quat_to_unit_d(q_azim);

	// Final quaternion
	zsl_quat_mult(q_azim, q_elev_roll, q);
	zsl_quat_to_unit_d(q);

	// enshure positive scalar part
	if (q->r < 0) {
		q->r = -q->r;
		q->i = -q->i;
		q->j = -q->j;
		q->k = -q->k;
	}

	// Free memory
	zsl_quat_free(q_elev);
	zsl_quat_free(q_roll);
	zsl_quat_free(q_elev_roll);
	zsl_quat_free(q_bm);
	zsl_quat_free(q_em);
	zsl_quat_free(q_temp1);
	zsl_quat_free(q_temp2);
	zsl_quat_free(q_temp3);
	zsl_quat_free(q_azim);
	zsl_vec_free(a);
	zsl_vec_free(m);
	zsl_vec_free(m_ref);
	zsl_vec_free(N_vec);

	return 0;
}
```

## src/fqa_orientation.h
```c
#pragma once

#include <zsl/zsl.h>
#include <zsl/matrices.h>
#include <zsl/vectors.h>
#include "zsl_utils.h"

int fqa_orientation(struct zsl_vec *accel, struct zsl_vec *magn, struct zsl_vec *magn_ref,
		    struct zsl_quat *q);
```

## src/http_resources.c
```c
#include "http_resources.h"

//////////////////////////////////////// HTTP Service //////////////////////////////////////////

static uint16_t test_http_service_port = CONFIG_NET_SAMPLE_HTTP_SERVER_SERVICE_PORT;
HTTP_SERVICE_DEFINE(test_http_service, NULL, &test_http_service_port, 1, 10, NULL);

//////////////////////////////////////// HTTP Resources //////////////////////////////////////////

////////////////// Index HTML //////////////////
// This is the main HTML file that is loaded by the browser.

static const uint8_t index_html_gz[] = {
#include "index.html.gz.inc"
};

struct http_resource_detail_static index_html_gz_resource_detail = {
	.common =
		{
			.type = HTTP_RESOURCE_TYPE_STATIC,
			.bitmask_of_supported_http_methods = BIT(HTTP_GET),
			.content_encoding = "gzip",
			.content_type = "text/html",
		},
	.static_data = index_html_gz,
	.static_data_len = sizeof(index_html_gz),
};

HTTP_RESOURCE_DEFINE(index_html_gz_resource, test_http_service, "/",
		     &index_html_gz_resource_detail);

////////////////// Main JS //////////////////
// This is the main JavaScript file that is loaded by the index.html file.

static const uint8_t main_js_gz[] = {
#include "main.js.gz.inc"
};

struct http_resource_detail_static main_js_gz_resource_detail = {
	.common =
		{
			.type = HTTP_RESOURCE_TYPE_STATIC,
			.bitmask_of_supported_http_methods = BIT(HTTP_GET),
			.content_encoding = "gzip",
			.content_type = "application/javascript",
		},
	.static_data = main_js_gz,
	.static_data_len = sizeof(main_js_gz),
};

HTTP_RESOURCE_DEFINE(main_js_gz_resource, test_http_service, "/main.js",
		     &main_js_gz_resource_detail);

////////////////// styles CSS //////////////////
// This is the CSS file that is loaded by the index.html file.

static const uint8_t styles_css_gz[] = {
#include "styles.css.gz.inc"
};

struct http_resource_detail_static styles_css_gz_resource_detail = {
	.common =
		{
			.type = HTTP_RESOURCE_TYPE_STATIC,
			.bitmask_of_supported_http_methods = BIT(HTTP_GET),
			.content_encoding = "gzip",
			.content_type = "text/css",
		},
	.static_data = styles_css_gz,
	.static_data_len = sizeof(styles_css_gz),
};

HTTP_RESOURCE_DEFINE(styles_css_gz_resource, test_http_service, "/styles.css",
		     &styles_css_gz_resource_detail);

////////////////// Color Wheel svg //////////////////
// This is an image to be displayed in the browser.

static const uint8_t color_circle_gz[] = {
#include "Color_circle.svg.gz.inc"
};

struct http_resource_detail_static color_circle_gz_resource_detail = {
	.common =
		{
			.type = HTTP_RESOURCE_TYPE_STATIC,
			.bitmask_of_supported_http_methods = BIT(HTTP_GET),
			.content_encoding = "gzip",
			.content_type = "image/svg+xml",
		},
	.static_data = color_circle_gz,
	.static_data_len = sizeof(color_circle_gz),
};

HTTP_RESOURCE_DEFINE(color_circle_gz_resource, test_http_service, "/Color_circle.svg",
		     &color_circle_gz_resource_detail);

////////////////// Logo Nordic svg //////////////////
// This is an image to be displayed in the browser.

static const uint8_t logo_Nordic_svg_gz[] = {
#include "Logo_Flat_RGB_Horizontal.svg.gz.inc"
};

struct http_resource_detail_static logo_Nordic_svg_gz_resource_detail = {
	.common =
		{
			.type = HTTP_RESOURCE_TYPE_STATIC,
			.bitmask_of_supported_http_methods = BIT(HTTP_GET),
			.content_encoding = "gzip",
			.content_type = "image/svg+xml",
		},
	.static_data = logo_Nordic_svg_gz,
	.static_data_len = sizeof(logo_Nordic_svg_gz),
};

HTTP_RESOURCE_DEFINE(logo_Nordic_svg_gz_resource, test_http_service,
		     "/Logo_Flat_RGB_Horizontal.svg", &logo_Nordic_svg_gz_resource_detail);

////////////////// 3D Model //////////////////
// This is an 3D model to be displayed in the browser.

static const uint8_t model_glb_gz[] = {
// #include "Duck.glb.gz.inc"
#include "thingy91x.glb.gz.inc"
};

struct http_resource_detail_static model_glb_gz_resource_detail = {
	.common =
		{
			.type = HTTP_RESOURCE_TYPE_STATIC,
			.bitmask_of_supported_http_methods = BIT(HTTP_GET),
			.content_encoding = "gzip",
			.content_type = "model/gltf-binary",
		},
	.static_data = model_glb_gz,
	.static_data_len = sizeof(model_glb_gz),
};

HTTP_RESOURCE_DEFINE(model_glb_gz_resource, test_http_service, "/thingy91x.glb",
		     &model_glb_gz_resource_detail);

////////////////// LED Resource //////////////////
// This is the resource that is used to control the LEDs on the Thingy:91x.
// It is a dynamic resource that accepts POST requests with JSON payloads.

static uint8_t led_buf[256]; // Buffer to store the JSON payload

static struct http_resource_detail_dynamic led_resource_detail = {
	.common =
		{
			.type = HTTP_RESOURCE_TYPE_DYNAMIC,
			.bitmask_of_supported_http_methods = BIT(HTTP_POST),
		},
	.cb = NULL, // This is set by the http_resources_set_led_handler function to allow callback
		    // function to be defined in main.c
	.data_buffer = led_buf,
	.data_buffer_len = sizeof(led_buf),
	.user_data = NULL,
};

HTTP_RESOURCE_DEFINE(led_resource, test_http_service, "/led", &led_resource_detail);

void http_resources_set_led_handler(http_resource_dynamic_cb_t handler)
{
	led_resource_detail.cb = handler;
}

////////////////// WebSocket Resource //////////////////
// This is the resource that is used to send sensor data over a WebSocket connection.

static struct ws_sensors_ctx sensors_ctx[CONFIG_NET_SAMPLE_NUM_WEBSOCKET_HANDLERS];

static uint8_t ws_netstats_buffer[128];

struct http_resource_detail_websocket ws_netstats_resource_detail = {
	.common =
		{
			.type = HTTP_RESOURCE_TYPE_WEBSOCKET,
			/* We need HTTP/1.1 Get method for upgrading */
			.bitmask_of_supported_http_methods = BIT(HTTP_GET),
		},
	.cb = NULL, // This is set by the http_resources_set_ws_handler function to allow callback
		    // function to be defined in main.c
	.data_buffer = ws_netstats_buffer,
	.data_buffer_len = sizeof(ws_netstats_buffer),
	.user_data = NULL,
};

HTTP_RESOURCE_DEFINE(ws_netstats_resource, test_http_service, "/", &ws_netstats_resource_detail);

void http_resources_set_ws_handler(http_resource_websocket_cb_t handler)
{
	ws_netstats_resource_detail.cb = handler;
}

void http_resources_get_ws_ctx(struct ws_sensors_ctx **ctx)
{
	*ctx = sensors_ctx;
}

//////////////////////////////////////// Location Resource
/////////////////////////////////////////////
// GET /location
// This is a dynamic resource that returns the location of the device.

uint8_t location_buf[256]; // Buffer to store the location

static struct http_resource_detail_dynamic location_resource_detail = {
	.common =
		{
			.type = HTTP_RESOURCE_TYPE_DYNAMIC,
			.bitmask_of_supported_http_methods = BIT(HTTP_GET),
		},
	.cb = NULL, // This is set by the http_resources_set_location_handler function to allow
		    // callback function to be defined in main.c
	.data_buffer = location_buf,
	.data_buffer_len = sizeof(location_buf),
	.user_data = NULL,
};

HTTP_RESOURCE_DEFINE(location_resource, test_http_service, "/location", &location_resource_detail);

void http_resources_set_location_handler(http_resource_dynamic_cb_t handler)
{
	location_resource_detail.cb = handler;
}

void http_resources_set_location(const char *location)
{
	strncpy(location_buf, location, sizeof(location_buf));
}
```

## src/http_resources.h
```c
#pragma once

#include <zephyr/net/http/server.h>
#include <zephyr/net/http/service.h>
#include <zephyr/data/json.h>

struct ws_sensors_ctx {
	int sock;
	struct k_work_delayable work;
};

struct led_command {
	int r;
	int g;
	int b;
};

static const struct json_obj_descr led_command_descr[] = {
	JSON_OBJ_DESCR_PRIM(struct led_command, r, JSON_TOK_NUMBER),
	JSON_OBJ_DESCR_PRIM(struct led_command, g, JSON_TOK_NUMBER),
	JSON_OBJ_DESCR_PRIM(struct led_command, b, JSON_TOK_NUMBER),
};

void http_resources_set_led_handler(http_resource_dynamic_cb_t handler);
void http_resources_set_ws_handler(http_resource_websocket_cb_t handler);
void http_resources_get_ws_ctx(struct ws_sensors_ctx **ctx);
void http_resources_set_location_handler(http_resource_dynamic_cb_t handler);
void http_resources_set_location(const char *location);
```

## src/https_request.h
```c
#pragma once

#include <zephyr/net/socket.h>
#include <zephyr/net/websocket.h>
#include <zephyr/net/tls_credentials.h>

int cert_provision(void);
// void send_http_request(char *location_str, char *api_str, size_t api_str_len);
void send_http_request(char *location_str, size_t location_str_len, char *api_str,
		       size_t api_str_len, char *auth_token);
```

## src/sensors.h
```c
#pragma once

#include <zephyr/kernel.h>
#include <zephyr/device.h>
#include <zephyr/drivers/sensor.h>
#include <math.h>

#define GRAVITY 9.80665
#define PI      3.14159265359

// Number of sensor measurements (timestamp, 6x bmi270, 3x adxl367, 4x bme680, 3x bmm350)
#define GYRO_OFFSET_SAMPLES 500
#define NUM_SENSOR_MEASUREMENTS 17

int sensors_init(void);
int sensors_measure(void);
int sensor_offset_calibration(double *offset_data);
int sensor_apply_offset_calibration(double *data, double *offset_data);
int sensors_get_json(char *buf, size_t len, double *offset_data);
int sensor_rotate_measurement(struct sensor_value *data, int x, int y, int z);
```

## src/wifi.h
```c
#pragma once

#include <zephyr/net/net_if.h>
#include <zephyr/net/wifi_mgmt.h>
#include <zephyr/net/wifi_utils.h>
#include <zephyr/net/net_event.h>
#include <zephyr/net/socket.h>
#include <net/wifi_mgmt_ext.h>
#include <net/wifi_ready.h>
#include <stdlib.h>

#define WIFI_SHELL_MGMT_EVENTS (NET_EVENT_WIFI_CONNECT_RESULT | NET_EVENT_WIFI_DISCONNECT_RESULT)
#define STATUS_POLLING_MS      300

void wifi_sta_set_wifi_connected_cb(void *cb);
int start_app(void);
k_tid_t wifi_sta_get_start_wifi_thread_id(void);
void net_mgmt_callback_init(void);
int register_wifi_ready(void);

int wifi_scan(void);
```
